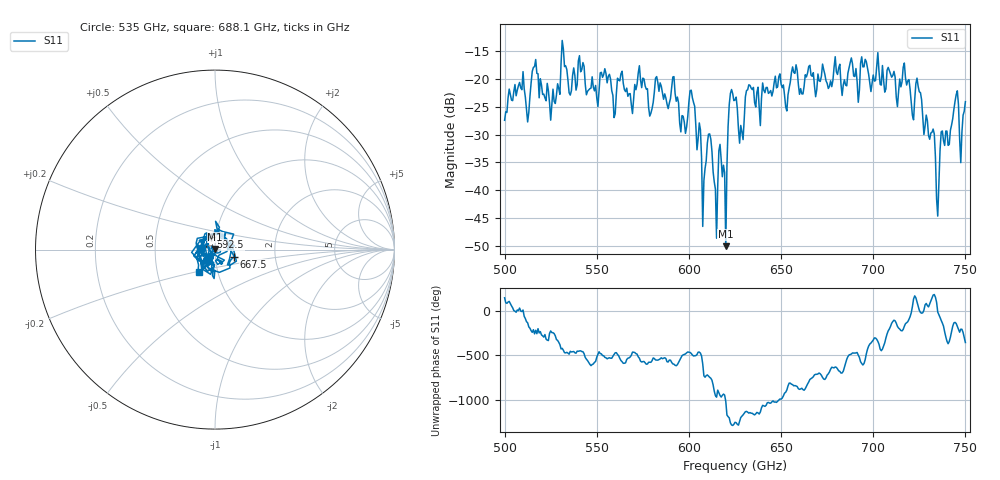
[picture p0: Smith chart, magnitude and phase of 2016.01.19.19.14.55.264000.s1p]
!Created with skrf (http://scikit-rf.org).
# GHz S RI R 50.0
!freq ReS11 ImS11
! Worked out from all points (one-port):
!   401 points, 500 GHz to 750 GHz, reference 50 ohm
!   lowest |S11| = -50.0 dB at 620 GHz (marker M1), VSWR 1.01, Z = 50.1 + j0.283 ohm
!   |S11| at or under -10 dB: start of sweep to end of sweep
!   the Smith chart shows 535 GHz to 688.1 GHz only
!   S11 on the Smith chart (normalised r, x): 535 GHz: 0.91, -0.11; 592.5 GHz: 0.95, +0.13; 667.5 GHz: 1.23, -0.10; 688.1 GHz: 0.81, -0.21
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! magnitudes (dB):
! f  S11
! 500 GHz  -27.4
! 508.8 GHz  -21.6
! 512.5 GHz  -27.7
! 516.2 GHz  -17.8
! 526.2 GHz  -21.9
! 531.2 GHz  -13.1
! 535 GHz  -22.5
! 562.5 GHz  -20.4
! 592.5 GHz  -22.6
! 593.8 GHz  -23.3
! 601.9 GHz  -23.4
! 608.1 GHz  -38.2
! 611.2 GHz  -29.9
! 614.4 GHz  -39.8
! 620 GHz  -50.0
! 622.5 GHz  -22.6
! 625 GHz  -23.8
! 628.1 GHz  -28.4
! 632.5 GHz  -21.1
! 656.2 GHz  -17.9
! 667.5 GHz  -18.9
! 687.5 GHz  -17.1
! 688.1 GHz  -16.3
! 718.8 GHz  -20.4
! 725 GHz  -22.3
! 735 GHz  -44.6
! 744.4 GHz  -24.1
! 750 GHz  -24.1
